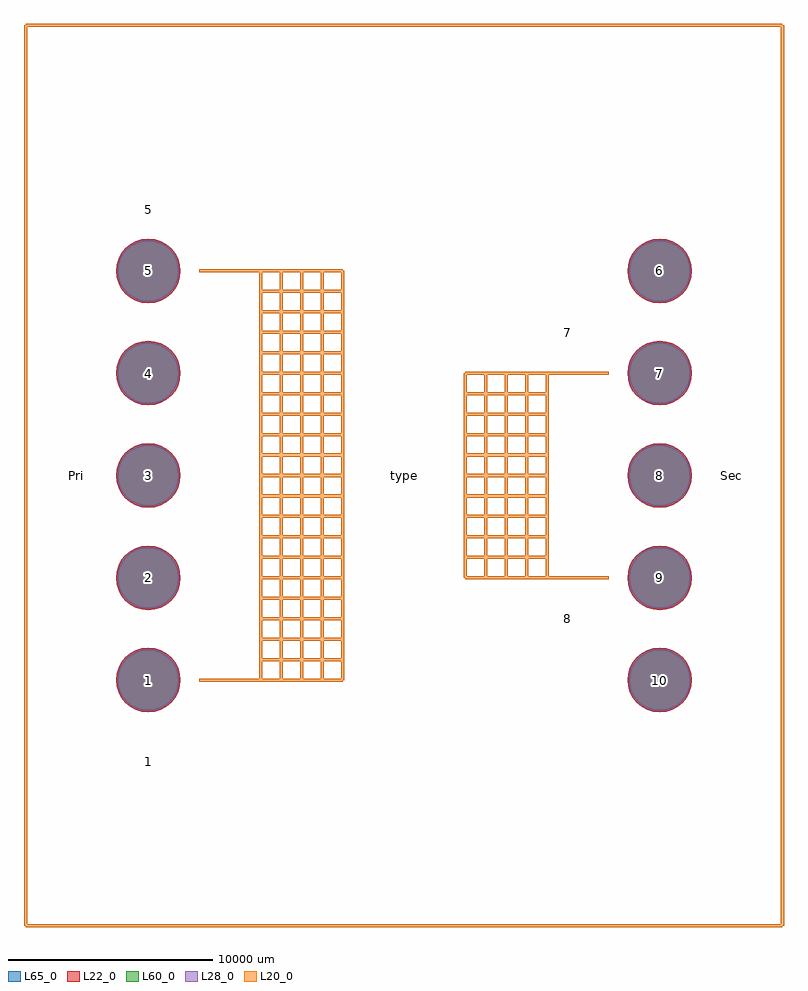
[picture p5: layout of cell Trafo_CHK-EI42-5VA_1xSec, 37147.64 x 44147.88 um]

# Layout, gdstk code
import gdstk
lib = gdstk.Library(unit=1e-6, precision=1e-09)
def P(c, l, *ps):  # polygons
    for p in ps: c.add(gdstk.Polygon(p, *l))
L20_0 = (20, 0)
L22_0 = (22, 0)
L28_0 = (28, 0)
L60_0 = (60, 0)
L65_0 = (65, 0)

trafo_chk_ei42_5va_1xsec = lib.new_cell('Trafo_CHK-EI42-5VA_1xSec')
P(trafo_chk_ei42_5va_1xsec, L22_0, [(14074.21,-9999.98),(14043.949,-9692.738),(13954.33,-9397.303),(13808.797,-9125.029),(13612.941,-8886.379),(13374.291,-8690.523),(13102.017,-8544.99),(12806.582,-8455.371),(12499.34,-8425.11),(12192.098,-8455.371),(11896.663,-8544.99),(11624.389,-8690.523),(11385.739,-8886.379),(11189.883,-9125.029),(11044.35,-9397.303),(10954.731,-9692.738),(10924.47,-9999.98),(10954.731,-10307.222),(11044.35,-10602.657),(11189.883,-10874.931),(11385.739,-11113.581),(11624.389,-11309.437),(11896.663,-11454.97),(12192.098,-11544.589),(12499.34,-11574.85),(12806.582,-11544.589),(13102.017,-11454.97),(13374.291,-11309.437),(13612.941,-11113.581),(13808.797,-10874.931),(13954.33,-10602.657),(14043.949,-10307.222)],
  [(14074.21,-5001.26),(14043.949,-4694.018),(13954.33,-4398.583),(13808.797,-4126.309),(13612.941,-3887.659),(13374.291,-3691.803),(13102.017,-3546.27),(12806.582,-3456.651),(12499.34,-3426.39),(12192.098,-3456.651),(11896.663,-3546.27),(11624.389,-3691.803),(11385.739,-3887.659),(11189.883,-4126.309),(11044.35,-4398.583),(10954.731,-4694.018),(10924.47,-5001.26),(10954.731,-5308.502),(11044.35,-5603.937),(11189.883,-5876.211),(11385.739,-6114.861),(11624.389,-6310.717),(11896.663,-6456.25),(12192.098,-6545.869),(12499.34,-6576.13),(12806.582,-6545.869),(13102.017,-6456.25),(13374.291,-6310.717),(13612.941,-6114.861),(13808.797,-5876.211),(13954.33,-5603.937),(14043.949,-5308.502)],
  [(14074.21,0),(14043.949,307.242),(13954.33,602.677),(13808.797,874.951),(13612.941,1113.601),(13374.291,1309.457),(13102.017,1454.99),(12806.582,1544.609),(12499.34,1574.87),(12192.098,1544.609),(11896.663,1454.99),(11624.389,1309.457),(11385.739,1113.601),(11189.883,874.951),(11044.35,602.677),(10954.731,307.242),(10924.47,0),(10954.731,-307.242),(11044.35,-602.677),(11189.883,-874.951),(11385.739,-1113.601),(11624.389,-1309.457),(11896.663,-1454.99),(12192.098,-1544.609),(12499.34,-1574.87),(12806.582,-1544.609),(13102.017,-1454.99),(13374.291,-1309.457),(13612.941,-1113.601),(13808.797,-874.951),(13954.33,-602.677),(14043.949,-307.242)],
  [(14074.21,5001.26),(14043.949,5308.502),(13954.33,5603.937),(13808.797,5876.211),(13612.941,6114.861),(13374.291,6310.717),(13102.017,6456.25),(12806.582,6545.869),(12499.34,6576.13),(12192.098,6545.869),(11896.663,6456.25),(11624.389,6310.717),(11385.739,6114.861),(11189.883,5876.211),(11044.35,5603.937),(10954.731,5308.502),(10924.47,5001.26),(10954.731,4694.018),(11044.35,4398.583),(11189.883,4126.309),(11385.739,3887.659),(11624.389,3691.803),(11896.663,3546.27),(12192.098,3456.651),(12499.34,3426.39),(12806.582,3456.651),(13102.017,3546.27),(13374.291,3691.803),(13612.941,3887.659),(13808.797,4126.309),(13954.33,4398.583),(14043.949,4694.018)],
  [(14074.21,9999.98),(14043.949,10307.222),(13954.33,10602.657),(13808.797,10874.931),(13612.941,11113.581),(13374.291,11309.437),(13102.017,11454.97),(12806.582,11544.589),(12499.34,11574.85),(12192.098,11544.589),(11896.663,11454.97),(11624.389,11309.437),(11385.739,11113.581),(11189.883,10874.931),(11044.35,10602.657),(10954.731,10307.222),(10924.47,9999.98),(10954.731,9692.738),(11044.35,9397.303),(11189.883,9125.029),(11385.739,8886.379),(11624.389,8690.523),(11896.663,8544.99),(12192.098,8455.371),(12499.34,8425.11),(12806.582,8455.371),(13102.017,8544.99),(13374.291,8690.523),(13612.941,8886.379),(13808.797,9125.029),(13954.33,9397.303),(14043.949,9692.738)],
  [(-10924.47,9999.98),(-10954.731,10307.222),(-11044.35,10602.657),(-11189.883,10874.931),(-11385.739,11113.581),(-11624.389,11309.437),(-11896.663,11454.97),(-12192.098,11544.589),(-12499.34,11574.85),(-12806.582,11544.589),(-13102.017,11454.97),(-13374.291,11309.437),(-13612.941,11113.581),(-13808.797,10874.931),(-13954.33,10602.657),(-14043.949,10307.222),(-14074.21,9999.98),(-14043.949,9692.738),(-13954.33,9397.303),(-13808.797,9125.029),(-13612.941,8886.379),(-13374.291,8690.523),(-13102.017,8544.99),(-12806.582,8455.371),(-12499.34,8425.11),(-12192.098,8455.371),(-11896.663,8544.99),(-11624.389,8690.523),(-11385.739,8886.379),(-11189.883,9125.029),(-11044.35,9397.303),(-10954.731,9692.738)],
  [(-10924.47,5001.26),(-10954.731,5308.502),(-11044.35,5603.937),(-11189.883,5876.211),(-11385.739,6114.861),(-11624.389,6310.717),(-11896.663,6456.25),(-12192.098,6545.869),(-12499.34,6576.13),(-12806.582,6545.869),(-13102.017,6456.25),(-13374.291,6310.717),(-13612.941,6114.861),(-13808.797,5876.211),(-13954.33,5603.937),(-14043.949,5308.502),(-14074.21,5001.26),(-14043.949,4694.018),(-13954.33,4398.583),(-13808.797,4126.309),(-13612.941,3887.659),(-13374.291,3691.803),(-13102.017,3546.27),(-12806.582,3456.651),(-12499.34,3426.39),(-12192.098,3456.651),(-11896.663,3546.27),(-11624.389,3691.803),(-11385.739,3887.659),(-11189.883,4126.309),(-11044.35,4398.583),(-10954.731,4694.018)],
  [(-10924.47,0),(-10954.731,307.242),(-11044.35,602.677),(-11189.883,874.951),(-11385.739,1113.601),(-11624.389,1309.457),(-11896.663,1454.99),(-12192.098,1544.609),(-12499.34,1574.87),(-12806.582,1544.609),(-13102.017,1454.99),(-13374.291,1309.457),(-13612.941,1113.601),(-13808.797,874.951),(-13954.33,602.677),(-14043.949,307.242),(-14074.21,0),(-14043.949,-307.242),(-13954.33,-602.677),(-13808.797,-874.951),(-13612.941,-1113.601),(-13374.291,-1309.457),(-13102.017,-1454.99),(-12806.582,-1544.609),(-12499.34,-1574.87),(-12192.098,-1544.609),(-11896.663,-1454.99),(-11624.389,-1309.457),(-11385.739,-1113.601),(-11189.883,-874.951),(-11044.35,-602.677),(-10954.731,-307.242)],
  [(-10924.47,-5001.26),(-10954.731,-4694.018),(-11044.35,-4398.583),(-11189.883,-4126.309),(-11385.739,-3887.659),(-11624.389,-3691.803),(-11896.663,-3546.27),(-12192.098,-3456.651),(-12499.34,-3426.39),(-12806.582,-3456.651),(-13102.017,-3546.27),(-13374.291,-3691.803),(-13612.941,-3887.659),(-13808.797,-4126.309),(-13954.33,-4398.583),(-14043.949,-4694.018),(-14074.21,-5001.26),(-14043.949,-5308.502),(-13954.33,-5603.937),(-13808.797,-5876.211),(-13612.941,-6114.861),(-13374.291,-6310.717),(-13102.017,-6456.25),(-12806.582,-6545.869),(-12499.34,-6576.13),(-12192.098,-6545.869),(-11896.663,-6456.25),(-11624.389,-6310.717),(-11385.739,-6114.861),(-11189.883,-5876.211),(-11044.35,-5603.937),(-10954.731,-5308.502)],
  [(-10924.47,-9999.98),(-10954.731,-9692.738),(-11044.35,-9397.303),(-11189.883,-9125.029),(-11385.739,-8886.379),(-11624.389,-8690.523),(-11896.663,-8544.99),(-12192.098,-8455.371),(-12499.34,-8425.11),(-12806.582,-8455.371),(-13102.017,-8544.99),(-13374.291,-8690.523),(-13612.941,-8886.379),(-13808.797,-9125.029),(-13954.33,-9397.303),(-14043.949,-9692.738),(-14074.21,-9999.98),(-14043.949,-10307.222),(-13954.33,-10602.657),(-13808.797,-10874.931),(-13612.941,-11113.581),(-13374.291,-11309.437),(-13102.017,-11454.97),(-12806.582,-11544.589),(-12499.34,-11574.85),(-12192.098,-11544.589),(-11896.663,-11454.97),(-11624.389,-11309.437),(-11385.739,-11113.581),(-11189.883,-10874.931),(-11044.35,-10602.657),(-10954.731,-10307.222)])
P(trafo_chk_ei42_5va_1xsec, L28_0, [(13999.21,-9999.98),(13970.39,-9707.37),(13885.039,-9426.005),(13746.436,-9166.697),(13559.908,-8939.412),(13332.623,-8752.884),(13073.315,-8614.281),(12791.95,-8528.93),(12499.34,-8500.11),(12206.73,-8528.93),(11925.365,-8614.281),(11666.057,-8752.884),(11438.772,-8939.412),(11252.244,-9166.697),(11113.641,-9426.005),(11028.29,-9707.37),(10999.47,-9999.98),(11028.29,-10292.59),(11113.641,-10573.955),(11252.244,-10833.263),(11438.772,-11060.548),(11666.057,-11247.076),(11925.365,-11385.679),(12206.73,-11471.03),(12499.34,-11499.85),(12791.95,-11471.03),(13073.315,-11385.679),(13332.623,-11247.076),(13559.908,-11060.548),(13746.436,-10833.263),(13885.039,-10573.955),(13970.39,-10292.59)],
  [(13999.21,-5001.26),(13970.39,-4708.65),(13885.039,-4427.285),(13746.436,-4167.977),(13559.908,-3940.692),(13332.623,-3754.164),(13073.315,-3615.561),(12791.95,-3530.21),(12499.34,-3501.39),(12206.73,-3530.21),(11925.365,-3615.561),(11666.057,-3754.164),(11438.772,-3940.692),(11252.244,-4167.977),(11113.641,-4427.285),(11028.29,-4708.65),(10999.47,-5001.26),(11028.29,-5293.87),(11113.641,-5575.235),(11252.244,-5834.543),(11438.772,-6061.828),(11666.057,-6248.356),(11925.365,-6386.959),(12206.73,-6472.31),(12499.34,-6501.13),(12791.95,-6472.31),(13073.315,-6386.959),(13332.623,-6248.356),(13559.908,-6061.828),(13746.436,-5834.543),(13885.039,-5575.235),(13970.39,-5293.87)],
  [(13999.21,0),(13970.39,292.61),(13885.039,573.975),(13746.436,833.283),(13559.908,1060.568),(13332.623,1247.096),(13073.315,1385.699),(12791.95,1471.05),(12499.34,1499.87),(12206.73,1471.05),(11925.365,1385.699),(11666.057,1247.096),(11438.772,1060.568),(11252.244,833.283),(11113.641,573.975),(11028.29,292.61),(10999.47,0),(11028.29,-292.61),(11113.641,-573.975),(11252.244,-833.283),(11438.772,-1060.568),(11666.057,-1247.096),(11925.365,-1385.699),(12206.73,-1471.05),(12499.34,-1499.87),(12791.95,-1471.05),(13073.315,-1385.699),(13332.623,-1247.096),(13559.908,-1060.568),(13746.436,-833.283),(13885.039,-573.975),(13970.39,-292.61)],
  [(13999.21,5001.26),(13970.39,5293.87),(13885.039,5575.235),(13746.436,5834.543),(13559.908,6061.828),(13332.623,6248.356),(13073.315,6386.959),(12791.95,6472.31),(12499.34,6501.13),(12206.73,6472.31),(11925.365,6386.959),(11666.057,6248.356),(11438.772,6061.828),(11252.244,5834.543),(11113.641,5575.235),(11028.29,5293.87),(10999.47,5001.26),(11028.29,4708.65),(11113.641,4427.285),(11252.244,4167.977),(11438.772,3940.692),(11666.057,3754.164),(11925.365,3615.561),(12206.73,3530.21),(12499.34,3501.39),(12791.95,3530.21),(13073.315,3615.561),(13332.623,3754.164),(13559.908,3940.692),(13746.436,4167.977),(13885.039,4427.285),(13970.39,4708.65)],
  [(13999.21,9999.98),(13970.39,10292.59),(13885.039,10573.955),(13746.436,10833.263),(13559.908,11060.548),(13332.623,11247.076),(13073.315,11385.679),(12791.95,11471.03),(12499.34,11499.85),(12206.73,11471.03),(11925.365,11385.679),(11666.057,11247.076),(11438.772,11060.548),(11252.244,10833.263),(11113.641,10573.955),(11028.29,10292.59),(10999.47,9999.98),(11028.29,9707.37),(11113.641,9426.005),(11252.244,9166.697),(11438.772,8939.412),(11666.057,8752.884),(11925.365,8614.281),(12206.73,8528.93),(12499.34,8500.11),(12791.95,8528.93),(13073.315,8614.281),(13332.623,8752.884),(13559.908,8939.412),(13746.436,9166.697),(13885.039,9426.005),(13970.39,9707.37)],
  [(-10999.47,9999.98),(-11028.29,10292.59),(-11113.641,10573.955),(-11252.244,10833.263),(-11438.772,11060.548),(-11666.057,11247.076),(-11925.365,11385.679),(-12206.73,11471.03),(-12499.34,11499.85),(-12791.95,11471.03),(-13073.315,11385.679),(-13332.623,11247.076),(-13559.908,11060.548),(-13746.436,10833.263),(-13885.039,10573.955),(-13970.39,10292.59),(-13999.21,9999.98),(-13970.39,9707.37),(-13885.039,9426.005),(-13746.436,9166.697),(-13559.908,8939.412),(-13332.623,8752.884),(-13073.315,8614.281),(-12791.95,8528.93),(-12499.34,8500.11),(-12206.73,8528.93),(-11925.365,8614.281),(-11666.057,8752.884),(-11438.772,8939.412),(-11252.244,9166.697),(-11113.641,9426.005),(-11028.29,9707.37)],
  [(-10999.47,5001.26),(-11028.29,5293.87),(-11113.641,5575.235),(-11252.244,5834.543),(-11438.772,6061.828),(-11666.057,6248.356),(-11925.365,6386.959),(-12206.73,6472.31),(-12499.34,6501.13),(-12791.95,6472.31),(-13073.315,6386.959),(-13332.623,6248.356),(-13559.908,6061.828),(-13746.436,5834.543),(-13885.039,5575.235),(-13970.39,5293.87),(-13999.21,5001.26),(-13970.39,4708.65),(-13885.039,4427.285),(-13746.436,4167.977),(-13559.908,3940.692),(-13332.623,3754.164),(-13073.315,3615.561),(-12791.95,3530.21),(-12499.34,3501.39),(-12206.73,3530.21),(-11925.365,3615.561),(-11666.057,3754.164),(-11438.772,3940.692),(-11252.244,4167.977),(-11113.641,4427.285),(-11028.29,4708.65)],
  [(-10999.47,0),(-11028.29,292.61),(-11113.641,573.975),(-11252.244,833.283),(-11438.772,1060.568),(-11666.057,1247.096),(-11925.365,1385.699),(-12206.73,1471.05),(-12499.34,1499.87),(-12791.95,1471.05),(-13073.315,1385.699),(-13332.623,1247.096),(-13559.908,1060.568),(-13746.436,833.283),(-13885.039,573.975),(-13970.39,292.61),(-13999.21,0),(-13970.39,-292.61),(-13885.039,-573.975),(-13746.436,-833.283),(-13559.908,-1060.568),(-13332.623,-1247.096),(-13073.315,-1385.699),(-12791.95,-1471.05),(-12499.34,-1499.87),(-12206.73,-1471.05),(-11925.365,-1385.699),(-11666.057,-1247.096),(-11438.772,-1060.568),(-11252.244,-833.283),(-11113.641,-573.975),(-11028.29,-292.61)],
  [(-10999.47,-5001.26),(-11028.29,-4708.65),(-11113.641,-4427.285),(-11252.244,-4167.977),(-11438.772,-3940.692),(-11666.057,-3754.164),(-11925.365,-3615.561),(-12206.73,-3530.21),(-12499.34,-3501.39),(-12791.95,-3530.21),(-13073.315,-3615.561),(-13332.623,-3754.164),(-13559.908,-3940.692),(-13746.436,-4167.977),(-13885.039,-4427.285),(-13970.39,-4708.65),(-13999.21,-5001.26),(-13970.39,-5293.87),(-13885.039,-5575.235),(-13746.436,-5834.543),(-13559.908,-6061.828),(-13332.623,-6248.356),(-13073.315,-6386.959),(-12791.95,-6472.31),(-12499.34,-6501.13),(-12206.73,-6472.31),(-11925.365,-6386.959),(-11666.057,-6248.356),(-11438.772,-6061.828),(-11252.244,-5834.543),(-11113.641,-5575.235),(-11028.29,-5293.87)],
  [(-10999.47,-9999.98),(-11028.29,-9707.37),(-11113.641,-9426.005),(-11252.244,-9166.697),(-11438.772,-8939.412),(-11666.057,-8752.884),(-11925.365,-8614.281),(-12206.73,-8528.93),(-12499.34,-8500.11),(-12791.95,-8528.93),(-13073.315,-8614.281),(-13332.623,-8752.884),(-13559.908,-8939.412),(-13746.436,-9166.697),(-13885.039,-9426.005),(-13970.39,-9707.37),(-13999.21,-9999.98),(-13970.39,-10292.59),(-13885.039,-10573.955),(-13746.436,-10833.263),(-13559.908,-11060.548),(-13332.623,-11247.076),(-13073.315,-11385.679),(-12791.95,-11471.03),(-12499.34,-11499.85),(-12206.73,-11471.03),(-11925.365,-11385.679),(-11666.057,-11247.076),(-11438.772,-11060.548),(-11252.244,-10833.263),(-11113.641,-10573.955),(-11028.29,-10292.59)])
P(trafo_chk_ei42_5va_1xsec, L60_0, [(13999.21,-9999.98),(13970.39,-9707.37),(13885.039,-9426.005),(13746.436,-9166.697),(13559.908,-8939.412),(13332.623,-8752.884),(13073.315,-8614.281),(12791.95,-8528.93),(12499.34,-8500.11),(12206.73,-8528.93),(11925.365,-8614.281),(11666.057,-8752.884),(11438.772,-8939.412),(11252.244,-9166.697),(11113.641,-9426.005),(11028.29,-9707.37),(10999.47,-9999.98),(11028.29,-10292.59),(11113.641,-10573.955),(11252.244,-10833.263),(11438.772,-11060.548),(11666.057,-11247.076),(11925.365,-11385.679),(12206.73,-11471.03),(12499.34,-11499.85),(12791.95,-11471.03),(13073.315,-11385.679),(13332.623,-11247.076),(13559.908,-11060.548),(13746.436,-10833.263),(13885.039,-10573.955),(13970.39,-10292.59)],
  [(13999.21,-5001.26),(13970.39,-4708.65),(13885.039,-4427.285),(13746.436,-4167.977),(13559.908,-3940.692),(13332.623,-3754.164),(13073.315,-3615.561),(12791.95,-3530.21),(12499.34,-3501.39),(12206.73,-3530.21),(11925.365,-3615.561),(11666.057,-3754.164),(11438.772,-3940.692),(11252.244,-4167.977),(11113.641,-4427.285),(11028.29,-4708.65),(10999.47,-5001.26),(11028.29,-5293.87),(11113.641,-5575.235),(11252.244,-5834.543),(11438.772,-6061.828),(11666.057,-6248.356),(11925.365,-6386.959),(12206.73,-6472.31),(12499.34,-6501.13),(12791.95,-6472.31),(13073.315,-6386.959),(13332.623,-6248.356),(13559.908,-6061.828),(13746.436,-5834.543),(13885.039,-5575.235),(13970.39,-5293.87)],
  [(13999.21,0),(13970.39,292.61),(13885.039,573.975),(13746.436,833.283),(13559.908,1060.568),(13332.623,1247.096),(13073.315,1385.699),(12791.95,1471.05),(12499.34,1499.87),(12206.73,1471.05),(11925.365,1385.699),(11666.057,1247.096),(11438.772,1060.568),(11252.244,833.283),(11113.641,573.975),(11028.29,292.61),(10999.47,0),(11028.29,-292.61),(11113.641,-573.975),(11252.244,-833.283),(11438.772,-1060.568),(11666.057,-1247.096),(11925.365,-1385.699),(12206.73,-1471.05),(12499.34,-1499.87),(12791.95,-1471.05),(13073.315,-1385.699),(13332.623,-1247.096),(13559.908,-1060.568),(13746.436,-833.283),(13885.039,-573.975),(13970.39,-292.61)],
  [(13999.21,5001.26),(13970.39,5293.87),(13885.039,5575.235),(13746.436,5834.543),(13559.908,6061.828),(13332.623,6248.356),(13073.315,6386.959),(12791.95,6472.31),(12499.34,6501.13),(12206.73,6472.31),(11925.365,6386.959),(11666.057,6248.356),(11438.772,6061.828),(11252.244,5834.543),(11113.641,5575.235),(11028.29,5293.87),(10999.47,5001.26),(11028.29,4708.65),(11113.641,4427.285),(11252.244,4167.977),(11438.772,3940.692),(11666.057,3754.164),(11925.365,3615.561),(12206.73,3530.21),(12499.34,3501.39),(12791.95,3530.21),(13073.315,3615.561),(13332.623,3754.164),(13559.908,3940.692),(13746.436,4167.977),(13885.039,4427.285),(13970.39,4708.65)],
  [(13999.21,9999.98),(13970.39,10292.59),(13885.039,10573.955),(13746.436,10833.263),(13559.908,11060.548),(13332.623,11247.076),(13073.315,11385.679),(12791.95,11471.03),(12499.34,11499.85),(12206.73,11471.03),(11925.365,11385.679),(11666.057,11247.076),(11438.772,11060.548),(11252.244,10833.263),(11113.641,10573.955),(11028.29,10292.59),(10999.47,9999.98),(11028.29,9707.37),(11113.641,9426.005),(11252.244,9166.697),(11438.772,8939.412),(11666.057,8752.884),(11925.365,8614.281),(12206.73,8528.93),(12499.34,8500.11),(12791.95,8528.93),(13073.315,8614.281),(13332.623,8752.884),(13559.908,8939.412),(13746.436,9166.697),(13885.039,9426.005),(13970.39,9707.37)],
  [(-10999.47,9999.98),(-11028.29,10292.59),(-11113.641,10573.955),(-11252.244,10833.263),(-11438.772,11060.548),(-11666.057,11247.076),(-11925.365,11385.679),(-12206.73,11471.03),(-12499.34,11499.85),(-12791.95,11471.03),(-13073.315,11385.679),(-13332.623,11247.076),(-13559.908,11060.548),(-13746.436,10833.263),(-13885.039,10573.955),(-13970.39,10292.59),(-13999.21,9999.98),(-13970.39,9707.37),(-13885.039,9426.005),(-13746.436,9166.697),(-13559.908,8939.412),(-13332.623,8752.884),(-13073.315,8614.281),(-12791.95,8528.93),(-12499.34,8500.11),(-12206.73,8528.93),(-11925.365,8614.281),(-11666.057,8752.884),(-11438.772,8939.412),(-11252.244,9166.697),(-11113.641,9426.005),(-11028.29,9707.37)],
  [(-10999.47,5001.26),(-11028.29,5293.87),(-11113.641,5575.235),(-11252.244,5834.543),(-11438.772,6061.828),(-11666.057,6248.356),(-11925.365,6386.959),(-12206.73,6472.31),(-12499.34,6501.13),(-12791.95,6472.31),(-13073.315,6386.959),(-13332.623,6248.356),(-13559.908,6061.828),(-13746.436,5834.543),(-13885.039,5575.235),(-13970.39,5293.87),(-13999.21,5001.26),(-13970.39,4708.65),(-13885.039,4427.285),(-13746.436,4167.977),(-13559.908,3940.692),(-13332.623,3754.164),(-13073.315,3615.561),(-12791.95,3530.21),(-12499.34,3501.39),(-12206.73,3530.21),(-11925.365,3615.561),(-11666.057,3754.164),(-11438.772,3940.692),(-11252.244,4167.977),(-11113.641,4427.285),(-11028.29,4708.65)],
  [(-10999.47,0),(-11028.29,292.61),(-11113.641,573.975),(-11252.244,833.283),(-11438.772,1060.568),(-11666.057,1247.096),(-11925.365,1385.699),(-12206.73,1471.05),(-12499.34,1499.87),(-12791.95,1471.05),(-13073.315,1385.699),(-13332.623,1247.096),(-13559.908,1060.568),(-13746.436,833.283),(-13885.039,573.975),(-13970.39,292.61),(-13999.21,0),(-13970.39,-292.61),(-13885.039,-573.975),(-13746.436,-833.283),(-13559.908,-1060.568),(-13332.623,-1247.096),(-13073.315,-1385.699),(-12791.95,-1471.05),(-12499.34,-1499.87),(-12206.73,-1471.05),(-11925.365,-1385.699),(-11666.057,-1247.096),(-11438.772,-1060.568),(-11252.244,-833.283),(-11113.641,-573.975),(-11028.29,-292.61)],
  [(-10999.47,-5001.26),(-11028.29,-4708.65),(-11113.641,-4427.285),(-11252.244,-4167.977),(-11438.772,-3940.692),(-11666.057,-3754.164),(-11925.365,-3615.561),(-12206.73,-3530.21),(-12499.34,-3501.39),(-12791.95,-3530.21),(-13073.315,-3615.561),(-13332.623,-3754.164),(-13559.908,-3940.692),(-13746.436,-4167.977),(-13885.039,-4427.285),(-13970.39,-4708.65),(-13999.21,-5001.26),(-13970.39,-5293.87),(-13885.039,-5575.235),(-13746.436,-5834.543),(-13559.908,-6061.828),(-13332.623,-6248.356),(-13073.315,-6386.959),(-12791.95,-6472.31),(-12499.34,-6501.13),(-12206.73,-6472.31),(-11925.365,-6386.959),(-11666.057,-6248.356),(-11438.772,-6061.828),(-11252.244,-5834.543),(-11113.641,-5575.235),(-11028.29,-5293.87)],
  [(-10999.47,-9999.98),(-11028.29,-9707.37),(-11113.641,-9426.005),(-11252.244,-9166.697),(-11438.772,-8939.412),(-11666.057,-8752.884),(-11925.365,-8614.281),(-12206.73,-8528.93),(-12499.34,-8500.11),(-12791.95,-8528.93),(-13073.315,-8614.281),(-13332.623,-8752.884),(-13559.908,-8939.412),(-13746.436,-9166.697),(-13885.039,-9426.005),(-13970.39,-9707.37),(-13999.21,-9999.98),(-13970.39,-10292.59),(-13885.039,-10573.955),(-13746.436,-10833.263),(-13559.908,-11060.548),(-13332.623,-11247.076),(-13073.315,-11385.679),(-12791.95,-11471.03),(-12499.34,-11499.85),(-12206.73,-11471.03),(-11925.365,-11385.679),(-11666.057,-11247.076),(-11438.772,-11060.548),(-11252.244,-10833.263),(-11113.641,-10573.955),(-11028.29,-10292.59)])
P(trafo_chk_ei42_5va_1xsec, L65_0, [(14074.21,-9999.98),(14043.949,-9692.738),(13954.33,-9397.303),(13808.797,-9125.029),(13612.941,-8886.379),(13374.291,-8690.523),(13102.017,-8544.99),(12806.582,-8455.371),(12499.34,-8425.11),(12192.098,-8455.371),(11896.663,-8544.99),(11624.389,-8690.523),(11385.739,-8886.379),(11189.883,-9125.029),(11044.35,-9397.303),(10954.731,-9692.738),(10924.47,-9999.98),(10954.731,-10307.222),(11044.35,-10602.657),(11189.883,-10874.931),(11385.739,-11113.581),(11624.389,-11309.437),(11896.663,-11454.97),(12192.098,-11544.589),(12499.34,-11574.85),(12806.582,-11544.589),(13102.017,-11454.97),(13374.291,-11309.437),(13612.941,-11113.581),(13808.797,-10874.931),(13954.33,-10602.657),(14043.949,-10307.222)],
  [(14074.21,-5001.26),(14043.949,-4694.018),(13954.33,-4398.583),(13808.797,-4126.309),(13612.941,-3887.659),(13374.291,-3691.803),(13102.017,-3546.27),(12806.582,-3456.651),(12499.34,-3426.39),(12192.098,-3456.651),(11896.663,-3546.27),(11624.389,-3691.803),(11385.739,-3887.659),(11189.883,-4126.309),(11044.35,-4398.583),(10954.731,-4694.018),(10924.47,-5001.26),(10954.731,-5308.502),(11044.35,-5603.937),(11189.883,-5876.211),(11385.739,-6114.861),(11624.389,-6310.717),(11896.663,-6456.25),(12192.098,-6545.869),(12499.34,-6576.13),(12806.582,-6545.869),(13102.017,-6456.25),(13374.291,-6310.717),(13612.941,-6114.861),(13808.797,-5876.211),(13954.33,-5603.937),(14043.949,-5308.502)],
  [(14074.21,0),(14043.949,307.242),(13954.33,602.677),(13808.797,874.951),(13612.941,1113.601),(13374.291,1309.457),(13102.017,1454.99),(12806.582,1544.609),(12499.34,1574.87),(12192.098,1544.609),(11896.663,1454.99),(11624.389,1309.457),(11385.739,1113.601),(11189.883,874.951),(11044.35,602.677),(10954.731,307.242),(10924.47,0),(10954.731,-307.242),(11044.35,-602.677),(11189.883,-874.951),(11385.739,-1113.601),(11624.389,-1309.457),(11896.663,-1454.99),(12192.098,-1544.609),(12499.34,-1574.87),(12806.582,-1544.609),(13102.017,-1454.99),(13374.291,-1309.457),(13612.941,-1113.601),(13808.797,-874.951),(13954.33,-602.677),(14043.949,-307.242)],
  [(14074.21,5001.26),(14043.949,5308.502),(13954.33,5603.937),(13808.797,5876.211),(13612.941,6114.861),(13374.291,6310.717),(13102.017,6456.25),(12806.582,6545.869),(12499.34,6576.13),(12192.098,6545.869),(11896.663,6456.25),(11624.389,6310.717),(11385.739,6114.861),(11189.883,5876.211),(11044.35,5603.937),(10954.731,5308.502),(10924.47,5001.26),(10954.731,4694.018),(11044.35,4398.583),(11189.883,4126.309),(11385.739,3887.659),(11624.389,3691.803),(11896.663,3546.27),(12192.098,3456.651),(12499.34,3426.39),(12806.582,3456.651),(13102.017,3546.27),(13374.291,3691.803),(13612.941,3887.659),(13808.797,4126.309),(13954.33,4398.583),(14043.949,4694.018)],
  [(14074.21,9999.98),(14043.949,10307.222),(13954.33,10602.657),(13808.797,10874.931),(13612.941,11113.581),(13374.291,11309.437),(13102.017,11454.97),(12806.582,11544.589),(12499.34,11574.85),(12192.098,11544.589),(11896.663,11454.97),(11624.389,11309.437),(11385.739,11113.581),(11189.883,10874.931),(11044.35,10602.657),(10954.731,10307.222),(10924.47,9999.98),(10954.731,9692.738),(11044.35,9397.303),(11189.883,9125.029),(11385.739,8886.379),(11624.389,8690.523),(11896.663,8544.99),(12192.098,8455.371),(12499.34,8425.11),(12806.582,8455.371),(13102.017,8544.99),(13374.291,8690.523),(13612.941,8886.379),(13808.797,9125.029),(13954.33,9397.303),(14043.949,9692.738)],
  [(-10924.47,9999.98),(-10954.731,10307.222),(-11044.35,10602.657),(-11189.883,10874.931),(-11385.739,11113.581),(-11624.389,11309.437),(-11896.663,11454.97),(-12192.098,11544.589),(-12499.34,11574.85),(-12806.582,11544.589),(-13102.017,11454.97),(-13374.291,11309.437),(-13612.941,11113.581),(-13808.797,10874.931),(-13954.33,10602.657),(-14043.949,10307.222),(-14074.21,9999.98),(-14043.949,9692.738),(-13954.33,9397.303),(-13808.797,9125.029),(-13612.941,8886.379),(-13374.291,8690.523),(-13102.017,8544.99),(-12806.582,8455.371),(-12499.34,8425.11),(-12192.098,8455.371),(-11896.663,8544.99),(-11624.389,8690.523),(-11385.739,8886.379),(-11189.883,9125.029),(-11044.35,9397.303),(-10954.731,9692.738)],
  [(-10924.47,5001.26),(-10954.731,5308.502),(-11044.35,5603.937),(-11189.883,5876.211),(-11385.739,6114.861),(-11624.389,6310.717),(-11896.663,6456.25),(-12192.098,6545.869),(-12499.34,6576.13),(-12806.582,6545.869),(-13102.017,6456.25),(-13374.291,6310.717),(-13612.941,6114.861),(-13808.797,5876.211),(-13954.33,5603.937),(-14043.949,5308.502),(-14074.21,5001.26),(-14043.949,4694.018),(-13954.33,4398.583),(-13808.797,4126.309),(-13612.941,3887.659),(-13374.291,3691.803),(-13102.017,3546.27),(-12806.582,3456.651),(-12499.34,3426.39),(-12192.098,3456.651),(-11896.663,3546.27),(-11624.389,3691.803),(-11385.739,3887.659),(-11189.883,4126.309),(-11044.35,4398.583),(-10954.731,4694.018)],
  [(-10924.47,0),(-10954.731,307.242),(-11044.35,602.677),(-11189.883,874.951),(-11385.739,1113.601),(-11624.389,1309.457),(-11896.663,1454.99),(-12192.098,1544.609),(-12499.34,1574.87),(-12806.582,1544.609),(-13102.017,1454.99),(-13374.291,1309.457),(-13612.941,1113.601),(-13808.797,874.951),(-13954.33,602.677),(-14043.949,307.242),(-14074.21,0),(-14043.949,-307.242),(-13954.33,-602.677),(-13808.797,-874.951),(-13612.941,-1113.601),(-13374.291,-1309.457),(-13102.017,-1454.99),(-12806.582,-1544.609),(-12499.34,-1574.87),(-12192.098,-1544.609),(-11896.663,-1454.99),(-11624.389,-1309.457),(-11385.739,-1113.601),(-11189.883,-874.951),(-11044.35,-602.677),(-10954.731,-307.242)],
  [(-10924.47,-5001.26),(-10954.731,-4694.018),(-11044.35,-4398.583),(-11189.883,-4126.309),(-11385.739,-3887.659),(-11624.389,-3691.803),(-11896.663,-3546.27),(-12192.098,-3456.651),(-12499.34,-3426.39),(-12806.582,-3456.651),(-13102.017,-3546.27),(-13374.291,-3691.803),(-13612.941,-3887.659),(-13808.797,-4126.309),(-13954.33,-4398.583),(-14043.949,-4694.018),(-14074.21,-5001.26),(-14043.949,-5308.502),(-13954.33,-5603.937),(-13808.797,-5876.211),(-13612.941,-6114.861),(-13374.291,-6310.717),(-13102.017,-6456.25),(-12806.582,-6545.869),(-12499.34,-6576.13),(-12192.098,-6545.869),(-11896.663,-6456.25),(-11624.389,-6310.717),(-11385.739,-6114.861),(-11189.883,-5876.211),(-11044.35,-5603.937),(-10954.731,-5308.502)],
  [(-10924.47,-9999.98),(-10954.731,-9692.738),(-11044.35,-9397.303),(-11189.883,-9125.029),(-11385.739,-8886.379),(-11624.389,-8690.523),(-11896.663,-8544.99),(-12192.098,-8455.371),(-12499.34,-8425.11),(-12806.582,-8455.371),(-13102.017,-8544.99),(-13374.291,-8690.523),(-13612.941,-8886.379),(-13808.797,-9125.029),(-13954.33,-9397.303),(-14043.949,-9692.738),(-14074.21,-9999.98),(-14043.949,-10307.222),(-13954.33,-10602.657),(-13808.797,-10874.931),(-13612.941,-11113.581),(-13374.291,-11309.437),(-13102.017,-11454.97),(-12806.582,-11544.589),(-12499.34,-11574.85),(-12192.098,-11544.589),(-11896.663,-11454.97),(-11624.389,-11309.437),(-11385.739,-11113.581),(-11189.883,-10874.931),(-11044.35,-10602.657),(-10954.731,-10307.222)])
trafo_chk_ei42_5va_1xsec.add(gdstk.FlexPath([(-18498.82,21998.94),(-18498.82,-21998.94)], 149.998, ends="flush", simple_path=True, layer=20, datatype=0))  # L20_0
trafo_chk_ei42_5va_1xsec.add(gdstk.FlexPath([(18498.82,21998.94),(-18498.82,21998.94)], 149.998, ends="flush", simple_path=True, layer=20, datatype=0))  # L20_0
trafo_chk_ei42_5va_1xsec.add(gdstk.FlexPath([(18498.82,-21998.94),(18498.82,21998.94)], 149.998, ends="flush", simple_path=True, layer=20, datatype=0))  # L20_0
trafo_chk_ei42_5va_1xsec.add(gdstk.FlexPath([(-18498.82,-21998.94),(18498.82,-21998.94)], 149.998, ends="flush", simple_path=True, layer=20, datatype=0))  # L20_0
trafo_chk_ei42_5va_1xsec.add(gdstk.FlexPath([(-7000.24,-9999.98),(-9999.98,-9999.98)], 149.998, ends="flush", simple_path=True, layer=20, datatype=0))  # L20_0
trafo_chk_ei42_5va_1xsec.add(gdstk.FlexPath([(-7000.24,9999.98),(-7000.24,-9999.98)], 149.998, ends="flush", simple_path=True, layer=20, datatype=0))  # L20_0
trafo_chk_ei42_5va_1xsec.add(gdstk.FlexPath([(-9999.98,9999.98),(-7000.24,9999.98)], 149.998, ends="flush", simple_path=True, layer=20, datatype=0))  # L20_0
trafo_chk_ei42_5va_1xsec.add(gdstk.FlexPath([(-5999.48,-9999.98),(-7000.24,-9999.98)], 149.998, ends="flush", simple_path=True, layer=20, datatype=0))  # L20_0
trafo_chk_ei42_5va_1xsec.add(gdstk.FlexPath([(-5999.48,9999.98),(-5999.48,-9999.98)], 149.998, ends="flush", simple_path=True, layer=20, datatype=0))  # L20_0
trafo_chk_ei42_5va_1xsec.add(gdstk.FlexPath([(-7000.24,9999.98),(-5999.48,9999.98)], 149.998, ends="flush", simple_path=True, layer=20, datatype=0))  # L20_0
trafo_chk_ei42_5va_1xsec.add(gdstk.FlexPath([(-5001.26,-9999.98),(-5999.48,-9999.98)], 149.998, ends="flush", simple_path=True, layer=20, datatype=0))  # L20_0
trafo_chk_ei42_5va_1xsec.add(gdstk.FlexPath([(-5001.26,9999.98),(-5001.26,-9999.98)], 149.998, ends="flush", simple_path=True, layer=20, datatype=0))  # L20_0
trafo_chk_ei42_5va_1xsec.add(gdstk.FlexPath([(-5999.48,9999.98),(-5001.26,9999.98)], 149.998, ends="flush", simple_path=True, layer=20, datatype=0))  # L20_0
trafo_chk_ei42_5va_1xsec.add(gdstk.FlexPath([(-4000.5,-9999.98),(-5001.26,-9999.98)], 149.998, ends="flush", simple_path=True, layer=20, datatype=0))  # L20_0
trafo_chk_ei42_5va_1xsec.add(gdstk.FlexPath([(-4000.5,9999.98),(-4000.5,-9999.98)], 149.998, ends="flush", simple_path=True, layer=20, datatype=0))  # L20_0
trafo_chk_ei42_5va_1xsec.add(gdstk.FlexPath([(-5001.26,9999.98),(-4000.5,9999.98)], 149.998, ends="flush", simple_path=True, layer=20, datatype=0))  # L20_0
trafo_chk_ei42_5va_1xsec.add(gdstk.FlexPath([(-2999.74,-9999.98),(-4000.5,-9999.98)], 149.998, ends="flush", simple_path=True, layer=20, datatype=0))  # L20_0
trafo_chk_ei42_5va_1xsec.add(gdstk.FlexPath([(-2999.74,9999.98),(-2999.74,-9999.98)], 149.998, ends="flush", simple_path=True, layer=20, datatype=0))  # L20_0
trafo_chk_ei42_5va_1xsec.add(gdstk.FlexPath([(-4000.5,9999.98),(-2999.74,9999.98)], 149.998, ends="flush", simple_path=True, layer=20, datatype=0))  # L20_0
trafo_chk_ei42_5va_1xsec.add(gdstk.FlexPath([(-7000.24,8999.22),(-2999.74,8999.22)], 149.998, ends="flush", simple_path=True, layer=20, datatype=0))  # L20_0
trafo_chk_ei42_5va_1xsec.add(gdstk.FlexPath([(-7000.24,8001),(-2999.74,8001)], 149.998, ends="flush", simple_path=True, layer=20, datatype=0))  # L20_0
trafo_chk_ei42_5va_1xsec.add(gdstk.FlexPath([(-7000.24,7000.24),(-2999.74,7000.24)], 149.998, ends="flush", simple_path=True, layer=20, datatype=0))  # L20_0
trafo_chk_ei42_5va_1xsec.add(gdstk.FlexPath([(-7000.24,5999.48),(-2999.74,5999.48)], 149.998, ends="flush", simple_path=True, layer=20, datatype=0))  # L20_0
trafo_chk_ei42_5va_1xsec.add(gdstk.FlexPath([(-7000.24,5001.26),(-2999.74,5001.26)], 149.998, ends="flush", simple_path=True, layer=20, datatype=0))  # L20_0
trafo_chk_ei42_5va_1xsec.add(gdstk.FlexPath([(-7000.24,4000.5),(-2999.74,4000.5)], 149.998, ends="flush", simple_path=True, layer=20, datatype=0))  # L20_0
trafo_chk_ei42_5va_1xsec.add(gdstk.FlexPath([(-7000.24,2999.74),(-2999.74,2999.74)], 149.998, ends="flush", simple_path=True, layer=20, datatype=0))  # L20_0
trafo_chk_ei42_5va_1xsec.add(gdstk.FlexPath([(-7000.24,1998.98),(-2999.74,1998.98)], 149.998, ends="flush", simple_path=True, layer=20, datatype=0))  # L20_0
trafo_chk_ei42_5va_1xsec.add(gdstk.FlexPath([(-7000.24,1000.76),(-2999.74,1000.76)], 149.998, ends="flush", simple_path=True, layer=20, datatype=0))  # L20_0
trafo_chk_ei42_5va_1xsec.add(gdstk.FlexPath([(-7000.24,0),(-2999.74,0)], 149.998, ends="flush", simple_path=True, layer=20, datatype=0))  # L20_0
trafo_chk_ei42_5va_1xsec.add(gdstk.FlexPath([(-7000.24,-1000.76),(-2999.74,-1000.76)], 149.998, ends="flush", simple_path=True, layer=20, datatype=0))  # L20_0
trafo_chk_ei42_5va_1xsec.add(gdstk.FlexPath([(-7000.24,-1998.98),(-2999.74,-1998.98)], 149.998, ends="flush", simple_path=True, layer=20, datatype=0))  # L20_0
trafo_chk_ei42_5va_1xsec.add(gdstk.FlexPath([(-7000.24,-2999.74),(-2999.74,-2999.74)], 149.998, ends="flush", simple_path=True, layer=20, datatype=0))  # L20_0
trafo_chk_ei42_5va_1xsec.add(gdstk.FlexPath([(-7000.24,-4000.5),(-2999.74,-4000.5)], 149.998, ends="flush", simple_path=True, layer=20, datatype=0))  # L20_0
trafo_chk_ei42_5va_1xsec.add(gdstk.FlexPath([(-7000.24,-5001.26),(-2999.74,-5001.26)], 149.998, ends="flush", simple_path=True, layer=20, datatype=0))  # L20_0
trafo_chk_ei42_5va_1xsec.add(gdstk.FlexPath([(-7000.24,-5999.48),(-2999.74,-5999.48)], 149.998, ends="flush", simple_path=True, layer=20, datatype=0))  # L20_0
trafo_chk_ei42_5va_1xsec.add(gdstk.FlexPath([(-7000.24,-7000.24),(-2999.74,-7000.24)], 149.998, ends="flush", simple_path=True, layer=20, datatype=0))  # L20_0
trafo_chk_ei42_5va_1xsec.add(gdstk.FlexPath([(-7000.24,-8001),(-2999.74,-8001)], 149.998, ends="flush", simple_path=True, layer=20, datatype=0))  # L20_0
trafo_chk_ei42_5va_1xsec.add(gdstk.FlexPath([(-7000.24,-8999.22),(-2999.74,-8999.22)], 149.998, ends="flush", simple_path=True, layer=20, datatype=0))  # L20_0
trafo_chk_ei42_5va_1xsec.add(gdstk.FlexPath([(7000.24,-5001.26),(9999.98,-5001.26)], 149.998, ends="flush", simple_path=True, layer=20, datatype=0))  # L20_0
trafo_chk_ei42_5va_1xsec.add(gdstk.FlexPath([(7000.24,5001.26),(7000.24,-5001.26)], 149.998, ends="flush", simple_path=True, layer=20, datatype=0))  # L20_0
trafo_chk_ei42_5va_1xsec.add(gdstk.FlexPath([(9999.98,5001.26),(7000.24,5001.26)], 149.998, ends="flush", simple_path=True, layer=20, datatype=0))  # L20_0
trafo_chk_ei42_5va_1xsec.add(gdstk.FlexPath([(5999.48,-5001.26),(7000.24,-5001.26)], 149.998, ends="flush", simple_path=True, layer=20, datatype=0))  # L20_0
trafo_chk_ei42_5va_1xsec.add(gdstk.FlexPath([(5999.48,5001.26),(5999.48,-5001.26)], 149.998, ends="flush", simple_path=True, layer=20, datatype=0))  # L20_0
trafo_chk_ei42_5va_1xsec.add(gdstk.FlexPath([(7000.24,5001.26),(5999.48,5001.26)], 149.998, ends="flush", simple_path=True, layer=20, datatype=0))  # L20_0
trafo_chk_ei42_5va_1xsec.add(gdstk.FlexPath([(5001.26,-5001.26),(5999.48,-5001.26)], 149.998, ends="flush", simple_path=True, layer=20, datatype=0))  # L20_0
trafo_chk_ei42_5va_1xsec.add(gdstk.FlexPath([(5001.26,5001.26),(5001.26,-5001.26)], 149.998, ends="flush", simple_path=True, layer=20, datatype=0))  # L20_0
trafo_chk_ei42_5va_1xsec.add(gdstk.FlexPath([(5999.48,5001.26),(5001.26,5001.26)], 149.998, ends="flush", simple_path=True, layer=20, datatype=0))  # L20_0
trafo_chk_ei42_5va_1xsec.add(gdstk.FlexPath([(4000.5,-5001.26),(5001.26,-5001.26)], 149.998, ends="flush", simple_path=True, layer=20, datatype=0))  # L20_0
trafo_chk_ei42_5va_1xsec.add(gdstk.FlexPath([(4000.5,5001.26),(4000.5,-5001.26)], 149.998, ends="flush", simple_path=True, layer=20, datatype=0))  # L20_0
trafo_chk_ei42_5va_1xsec.add(gdstk.FlexPath([(5001.26,5001.26),(4000.5,5001.26)], 149.998, ends="flush", simple_path=True, layer=20, datatype=0))  # L20_0
trafo_chk_ei42_5va_1xsec.add(gdstk.FlexPath([(2999.74,-5001.26),(4000.5,-5001.26)], 149.998, ends="flush", simple_path=True, layer=20, datatype=0))  # L20_0
trafo_chk_ei42_5va_1xsec.add(gdstk.FlexPath([(2999.74,5001.26),(2999.74,-5001.26)], 149.998, ends="flush", simple_path=True, layer=20, datatype=0))  # L20_0
trafo_chk_ei42_5va_1xsec.add(gdstk.FlexPath([(4000.5,5001.26),(2999.74,5001.26)], 149.998, ends="flush", simple_path=True, layer=20, datatype=0))  # L20_0
trafo_chk_ei42_5va_1xsec.add(gdstk.FlexPath([(2999.74,4000.5),(7000.24,4000.5)], 149.998, ends="flush", simple_path=True, layer=20, datatype=0))  # L20_0
trafo_chk_ei42_5va_1xsec.add(gdstk.FlexPath([(7000.24,2999.74),(2999.74,2999.74)], 149.998, ends="flush", simple_path=True, layer=20, datatype=0))  # L20_0
trafo_chk_ei42_5va_1xsec.add(gdstk.FlexPath([(2999.74,1998.98),(7000.24,1998.98)], 149.998, ends="flush", simple_path=True, layer=20, datatype=0))  # L20_0
trafo_chk_ei42_5va_1xsec.add(gdstk.FlexPath([(7000.24,1000.76),(2999.74,1000.76)], 149.998, ends="flush", simple_path=True, layer=20, datatype=0))  # L20_0
trafo_chk_ei42_5va_1xsec.add(gdstk.FlexPath([(2999.74,0),(7000.24,0)], 149.998, ends="flush", simple_path=True, layer=20, datatype=0))  # L20_0
trafo_chk_ei42_5va_1xsec.add(gdstk.FlexPath([(7000.24,-1000.76),(2999.74,-1000.76)], 149.998, ends="flush", simple_path=True, layer=20, datatype=0))  # L20_0
trafo_chk_ei42_5va_1xsec.add(gdstk.FlexPath([(2999.74,-1998.98),(7000.24,-1998.98)], 149.998, ends="flush", simple_path=True, layer=20, datatype=0))  # L20_0
trafo_chk_ei42_5va_1xsec.add(gdstk.FlexPath([(7000.24,-2999.74),(2999.74,-2999.74)], 149.998, ends="flush", simple_path=True, layer=20, datatype=0))  # L20_0
trafo_chk_ei42_5va_1xsec.add(gdstk.FlexPath([(2999.74,-4000.5),(7000.24,-4000.5)], 149.998, ends="flush", simple_path=True, layer=20, datatype=0))  # L20_0
trafo_chk_ei42_5va_1xsec.add(gdstk.Label('10', (12499.34,-9999.98), layer=28, texttype=0))
trafo_chk_ei42_5va_1xsec.add(gdstk.Label('9', (12499.34,-5001.26), layer=28, texttype=0))
trafo_chk_ei42_5va_1xsec.add(gdstk.Label('8', (12499.34,0), layer=28, texttype=0))
trafo_chk_ei42_5va_1xsec.add(gdstk.Label('7', (12499.34,5001.26), layer=28, texttype=0))
trafo_chk_ei42_5va_1xsec.add(gdstk.Label('6', (12499.34,9999.98), layer=28, texttype=0))
trafo_chk_ei42_5va_1xsec.add(gdstk.Label('5', (-12499.34,9999.98), layer=28, texttype=0))
trafo_chk_ei42_5va_1xsec.add(gdstk.Label('4', (-12499.34,5001.26), layer=28, texttype=0))
trafo_chk_ei42_5va_1xsec.add(gdstk.Label('3', (-12499.34,0), layer=28, texttype=0))
trafo_chk_ei42_5va_1xsec.add(gdstk.Label('2', (-12499.34,-5001.26), layer=28, texttype=0))
trafo_chk_ei42_5va_1xsec.add(gdstk.Label('1', (-12499.34,-9999.98), layer=28, texttype=0))
trafo_chk_ei42_5va_1xsec.add(gdstk.Label('1', (-12499.34,-14000.48), layer=9, texttype=0))
trafo_chk_ei42_5va_1xsec.add(gdstk.Label('5', (-12499.34,12999.72), layer=9, texttype=0))
trafo_chk_ei42_5va_1xsec.add(gdstk.Label('7', (8001,7000.24), layer=9, texttype=0))
trafo_chk_ei42_5va_1xsec.add(gdstk.Label('8', (8001,-7000.24), layer=9, texttype=0))
trafo_chk_ei42_5va_1xsec.add(gdstk.Label('Pri', (-15999.46,0), layer=9, texttype=0))
trafo_chk_ei42_5va_1xsec.add(gdstk.Label('Sec', (15999.46,0), layer=9, texttype=0))
trafo_chk_ei42_5va_1xsec.add(gdstk.Label('type', (0,0), layer=9, texttype=0))
trafo_chk_ei42_5va_1xsec.add(gdstk.Label('devicename', (0,24130), layer=9, texttype=0))

lib.write_gds('Trafo_CHK-EI42-5VA_1xSec.gds')
